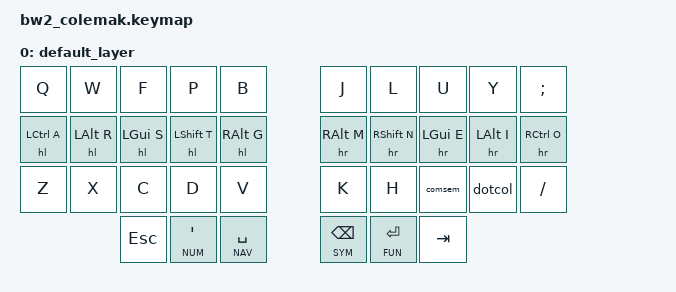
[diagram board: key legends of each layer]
#include "swweeep_common.dtsi"

// Colemak-DH base layer for the Bad Wings v2 with Cirque touchpad, built as the
// bw2-colemak-dh firmware. Same as swweeep_colemak.keymap, except ESC has no
// BT layer (the bw2 is USB only).
// Thumbs match Aptmak, with Backspace instead of E on the SYM thumb.

/ {
    keymap {
        compatible = "zmk,keymap";

    default_layer {
            bindings = <
    &kp Q        &kp W       &kp F       &kp P        &kp B          &kp J         &kp L          &kp U       &kp Y       &kp SEMI
    &hl LCTRL A  &hl LALT R  &hl LGUI S  &hl LSHFT T  &hl RALT G     &hr RALT M    &hr RSHFT N    &hr LGUI E  &hr LALT I  &hr RCTRL O
    &kp Z        &kp X       &kp C       &kp D        &kp V          &kp K         &kp H          &comsem     &dotcol     &kp FSLH
                             &kp ESC     &lt NUM SQT  &lt NAV SPACE  &lt SYM BSPC  &lt FUN ENTER  &kp TAB
            >;
        };
    };
};

#include "bw2_layers.dtsi"
